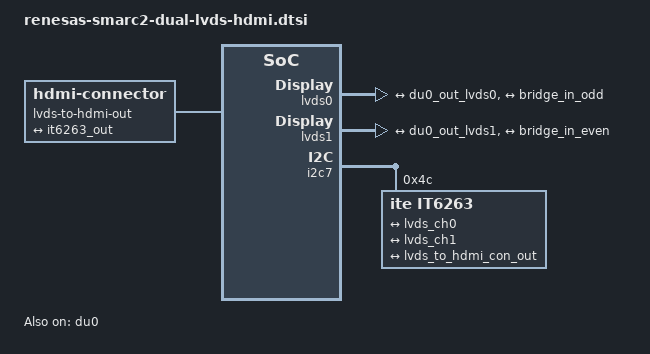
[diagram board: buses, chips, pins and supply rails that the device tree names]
// SPDX-License-Identifier: (GPL-2.0-only OR BSD-2-Clause)
/*
 * Device Tree Source for the SMARC Dual LVDS-HDMI sub board.
 * (for the RZ SMARC Carrier-II Board).
 *
 * Copyright (C) 2026 Renesas Electronics Corp.
 */

/ {
	lvds-to-hdmi-out {
		compatible = "hdmi-connector";
		type = "d";
		port {
			lvds_to_hdmi_con_out: endpoint {
				remote-endpoint = <&it6263_out>;
			};
		};
	};
};

&du0 {
	status = "okay";

	ports {
		port@1 {
			du0_out_lvds0: endpoint {
				remote-endpoint = <&lvds0_in>;
			};
		};

		port@2 {
			du0_out_lvds1: endpoint {
				remote-endpoint = <&lvds1_in>;
			};
		};
	};
};

&lvds0 {
	status = "okay";
	renesas,companion = <&lvds1>;

	ports {
		port@0 {
			reg = <0>;
			lvds0_in: endpoint {
				remote-endpoint = <&du0_out_lvds0>;
			};
		};

		port@1 {
			reg = <1>;
			lvds_ch0: endpoint {
				remote-endpoint = <&bridge_in_odd>;
			};
		};
	};
};

&lvds1 {
	status = "okay";

	ports {
		port@0 {
			reg = <0>;
			lvds1_in: endpoint {
				remote-endpoint = <&du0_out_lvds1>;
			};
		};

		port@1 {
			lvds_ch1: endpoint {
				remote-endpoint = <&bridge_in_even>;
			};
		};
	};
};

&i2c7 {
	pinctrl-0 = <&i2c7_pins>;
	pinctrl-names = "default";
	status = "okay";

	it6263: hdmi@4c {
		compatible = "ite,it6263";
		reg = <0x4c>;
		data-mapping = "vesa-24";

		ports {
			#address-cells = <1>;
			#size-cells = <0>;

			port@0 {
				reg = <0>;
				dual-lvds-odd-pixels;
				bridge_in_odd: endpoint {
					remote-endpoint = <&lvds_ch0>;
				};
			};

			port@1 {
				reg = <1>;
				dual-lvds-even-pixels;
				bridge_in_even: endpoint {
					remote-endpoint = <&lvds_ch1>;
				};
			};

			port@2 {
				reg = <2>;
				it6263_out: endpoint {
					remote-endpoint = <&lvds_to_hdmi_con_out>;
				};
			};
		};
	};
};

